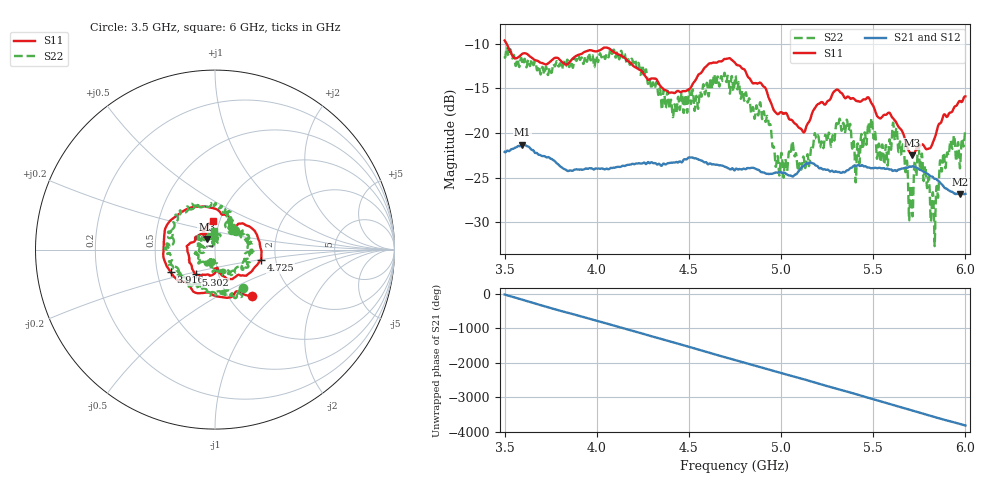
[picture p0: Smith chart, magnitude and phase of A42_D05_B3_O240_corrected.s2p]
! Created with skrf 1.9.0 (http://scikit-rf.org).
# Hz S RI R 50.0
!freq ReS11 ImS11 ReS21 ImS21 ReS12 ImS12 ReS22 ImS22
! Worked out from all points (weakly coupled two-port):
!   1601 points, 3.5 GHz to 6 GHz, reference 50 ohm
!   highest |S21| = -21.31 dB at 3.595 GHz (marker M1); lowest = -26.9 dB at 5.97 GHz (marker M2)
!   lowest |S11| = -22.5 dB at 5.713 GHz (marker M3), VSWR 1.16, Z = 45.3 + j5.36 ohm
!   |S11| at or under -10 dB: 3.51 GHz to end of sweep
!   |S22| runs from -32.7 to -10.4 dB; largest |S21 - S12| = 0.0011
!   S11 on the Smith chart (normalised r, x): 3.5 GHz: 1.27, -0.74; 3.916 GHz: 0.59, -0.16; 4.725 GHz: 1.67, -0.20; 5.302 GHz: 0.78, -0.22; 6 GHz: 0.93, +0.31
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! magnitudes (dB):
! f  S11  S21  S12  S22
! 3.5 GHz  -9.6  -22.1  -22.1  -11.4
! 3.595 GHz  -11.1  -21.3  -21.3  -12.1
! 3.916 GHz  -11.2  -24.1  -24.0  -11.6
! 3.917 GHz  -11.1  -24.1  -24.1  -11.5
! 4.334 GHz  -14.4  -23.5  -23.4  -15.7
! 4.422 GHz  -15.5  -23.3  -23.3  -16.8
! 4.725 GHz  -11.7  -24.1  -24.0  -15.2
! 4.75 GHz  -12.2  -24.2  -24.0  -13.8
! 4.933 GHz  -16.1  -24.6  -24.5  -18.9
! 4.981 GHz  -17.9  -24.5  -24.4  -22.6
! 5.167 GHz  -17.8  -23.4  -23.3  -21.8
! 5.302 GHz  -15.2  -24.3  -24.3  -18.9
! 5.412 GHz  -16.4  -23.6  -23.6  -21.8
! 5.483 GHz  -16.3  -23.9  -23.8  -19.8
! 5.584 GHz  -17.7  -24.1  -24.0  -21.5
! 5.617 GHz  -18.6  -24.2  -24.1  -20.8
! 5.713 GHz  -22.5  -23.7  -23.7  -29.3
! 5.753 GHz  -21.5  -24.1  -24.0  -23.9
! 5.823 GHz  -21.1  -24.9  -24.9  -26.6
! 5.872 GHz  -18.6  -25.8  -25.7  -24.3
! 5.97 GHz  -16.4  -26.9  -26.8  -24.0
! 6 GHz  -15.9  -26.8  -26.7  -19.6
